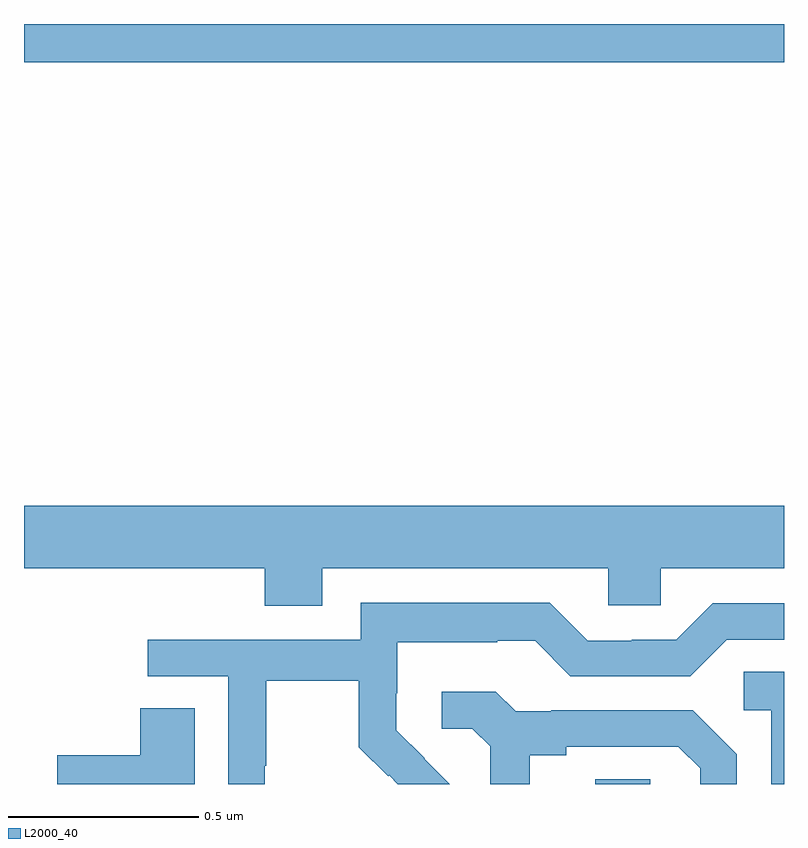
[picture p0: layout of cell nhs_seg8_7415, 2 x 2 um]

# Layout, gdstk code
import gdstk
lib = gdstk.Library(unit=1e-6, precision=1e-09)
def R(c, l, rs):  # rectangles x0, y0, x1, y1
    for r in rs: c.add(gdstk.rectangle(r[:2], r[2:], *l))
def P(c, l, *ps):  # polygons
    for p in ps: c.add(gdstk.Polygon(p, *l))
L2000_40 = (2000, 40)

nhs_seg8_7415 = lib.new_cell('nhs_seg8_7415')
R(nhs_seg8_7415, L2000_40, [(210.503,1147.9,210.648,1147.913), (209,1149.8,211,1149.9)])
P(nhs_seg8_7415, L2000_40, [(209,1148.468),(209.633,1148.468),(209.633,1148.369),(209.785,1148.369),(209.785,1148.468),(210.537,1148.468),(210.537,1148.37),(210.675,1148.37),(210.675,1148.468),(211,1148.468),(211,1148.632),(209,1148.632)],
  [(209.634,1147.948),(209.637,1147.948),(209.637,1148.172),(209.881,1148.172),(209.881,1147.997),(209.958,1147.92),(209.961,1147.923),(209.984,1147.9),(210.12,1147.9),(210.053,1147.967),(210.054,1147.968),(209.98,1148.042),(209.98,1148.139),(209.982,1148.139),(209.982,1148.273),(210.245,1148.273),(210.245,1148.277),(210.345,1148.277),(210.438,1148.184),(210.753,1148.184),(210.849,1148.28),(211,1148.28),(211,1148.376),(210.813,1148.376),(210.717,1148.28),(210.599,1148.28),(210.599,1148.277),(210.483,1148.277),(210.383,1148.377),(209.886,1148.377),(209.886,1148.28),(209.325,1148.28),(209.325,1148.184),(209.538,1148.184),(209.538,1147.9),(209.634,1147.9)],
  [(211,1148.195),(210.894,1148.195),(210.894,1148.094),(210.966,1148.094),(210.966,1147.9),(211,1147.9)],
  [(210.331,1147.976),(210.427,1147.976),(210.427,1147.998),(210.722,1147.998),(210.779,1147.941),(210.779,1147.9),(210.876,1147.9),(210.876,1147.978),(210.76,1148.094),(210.388,1148.094),(210.388,1148.091),(210.294,1148.091),(210.242,1148.143),(210.099,1148.143),(210.099,1148.046),(210.18,1148.046),(210.227,1147.999),(210.227,1147.9),(210.331,1147.9)],
  [(209.449,1148.099),(209.306,1148.099),(209.306,1147.976),(209.088,1147.976),(209.088,1147.9),(209.449,1147.9)])

lib.write_gds('nhs_seg8_7415.gds')
